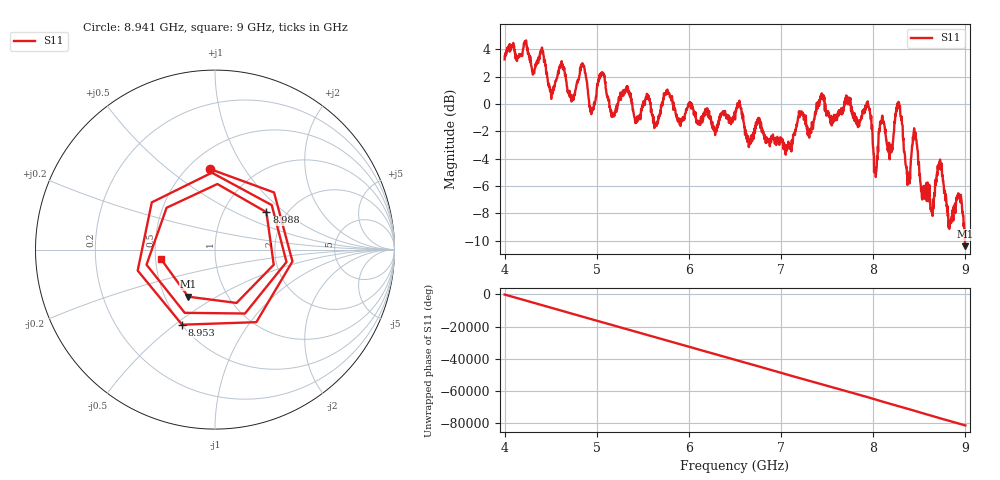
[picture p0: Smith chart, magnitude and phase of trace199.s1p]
! Created with skrf 1.8.0 (http://scikit-rf.org).
# Hz S RI R 50.0
!freq ReS11 ImS11
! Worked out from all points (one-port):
!   1601 points, 4 GHz to 9 GHz, reference 50 ohm
!   lowest |S11| = -10.4 dB at 8.997 GHz (marker M1), VSWR 1.86, Z = 32.7 - j18.9 ohm
!   |S11| at or under -10 dB: 8.994674 GHz to end of sweep
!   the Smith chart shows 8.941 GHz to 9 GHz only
!   S11 on the Smith chart (normalised r, x): 8.941 GHz: 0.63, +0.71; 8.953 GHz: 0.50, -0.53; 8.988 GHz: 1.58, +0.75; 9 GHz: 0.53, -0.06
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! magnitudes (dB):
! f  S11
! 4 GHz  3.3
! 4.406 GHz  4.1
! 4.509 GHz  0.8
! 4.625 GHz  2.7
! 4.738 GHz  0.3
! 4.853 GHz  2.8
! 4.944 GHz  -0.3
! 5.056 GHz  2.3
! 5.25 GHz  0.6
! 5.875 GHz  -1.1
! 6.5 GHz  -1.1
! 7.125 GHz  -2.8
! 7.75 GHz  0.3
! 7.944 GHz  -0.1
! 8.028 GHz  -5.3
! 8.084 GHz  -1.4
! 8.184 GHz  -3.2
! 8.275 GHz  0.2
! 8.375 GHz  -5.2
! 8.45 GHz  -2.4
! 8.628 GHz  -7.8
! 8.719 GHz  -4.2
! 8.831 GHz  -8.9
! 8.941 GHz  -6.9
! 8.953 GHz  -6.8
! 8.988 GHz  -9.0
! 8.997 GHz  -10.4
! 9 GHz  -10.3
